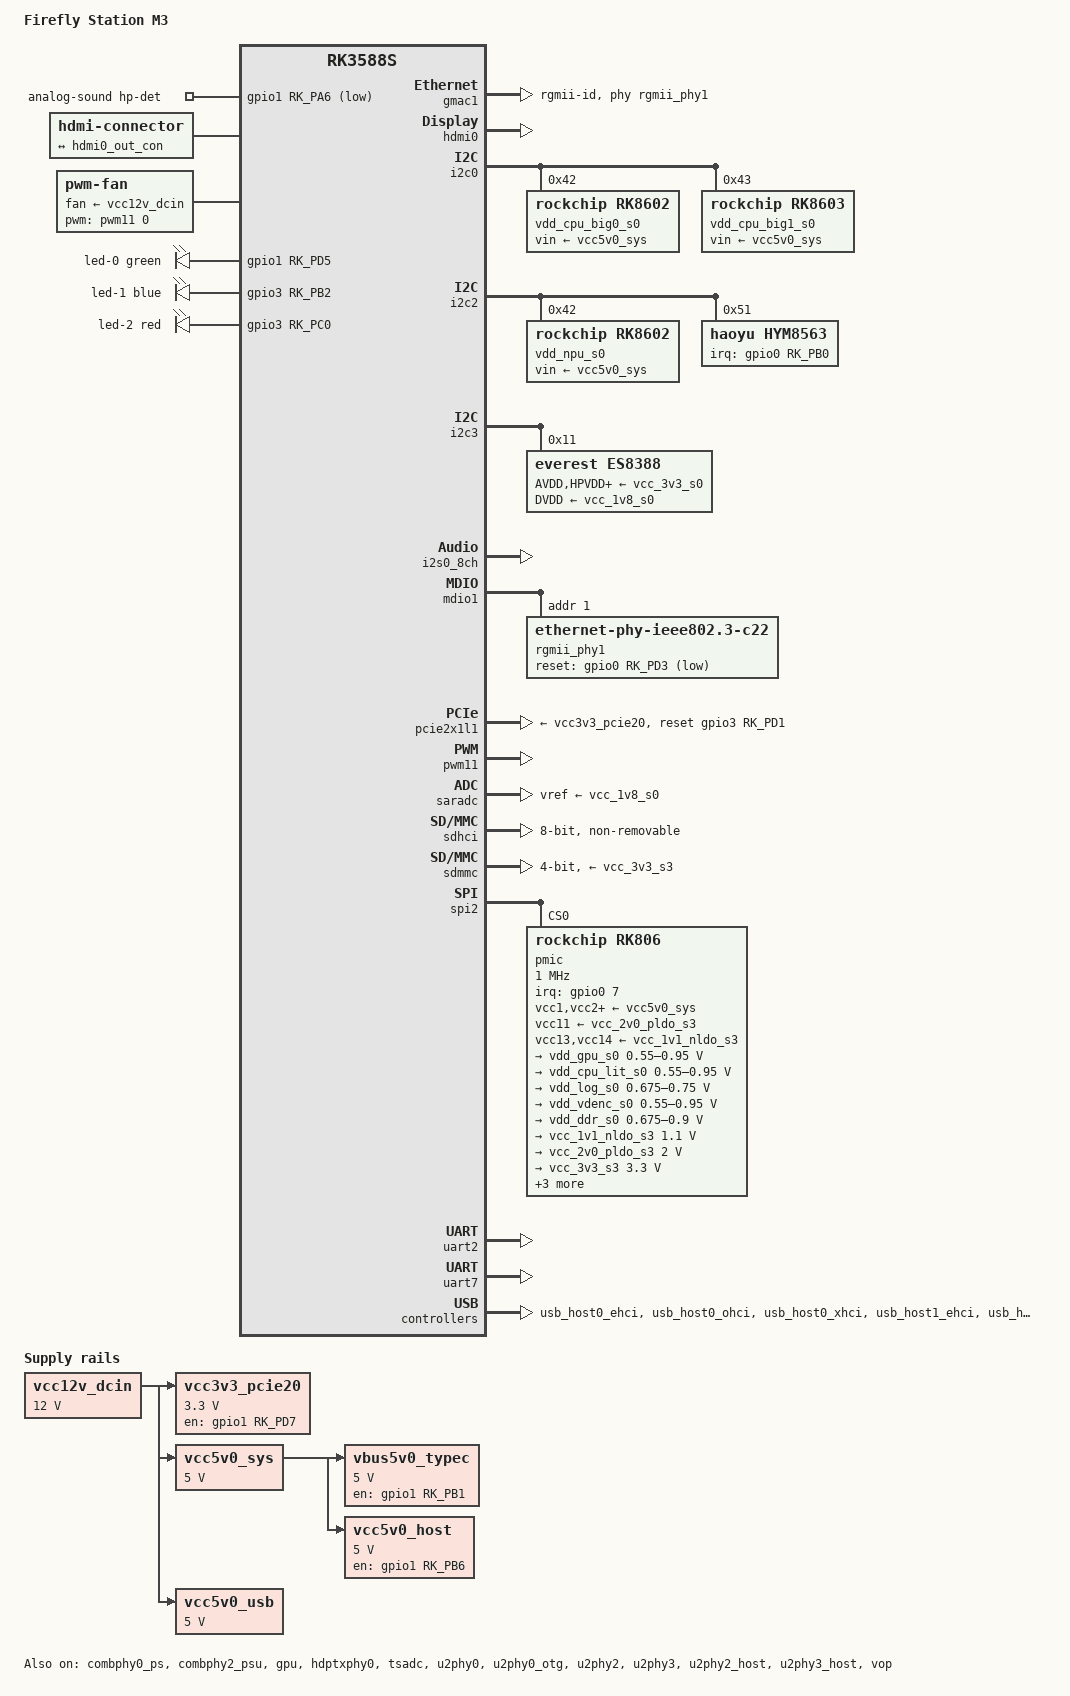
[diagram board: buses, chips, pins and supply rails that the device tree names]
// SPDX-License-Identifier: (GPL-2.0+ OR MIT)

/dts-v1/;

#include <dt-bindings/gpio/gpio.h>
#include <dt-bindings/leds/common.h>
#include <dt-bindings/pinctrl/rockchip.h>
#include <dt-bindings/soc/rockchip,vop2.h>
#include <dt-bindings/usb/pd.h>
#include "rk3588s.dtsi"

/ {
	model = "Firefly Station M3";
	compatible = "firefly,rk3588s-roc-pc", "rockchip,rk3588s";

	aliases {
		ethernet0 = &gmac1;
		mmc0 = &sdhci;
		mmc1 = &sdmmc;
	};

	analog-sound {
		compatible = "simple-audio-card";
		pinctrl-names = "default";
		pinctrl-0 = <&hp_detect>;
		simple-audio-card,name = "rockchip,es8388";
		simple-audio-card,bitclock-master = <&masterdai>;
		simple-audio-card,format = "i2s";
		simple-audio-card,frame-master = <&masterdai>;
		simple-audio-card,hp-det-gpios = <&gpio1 RK_PA6 GPIO_ACTIVE_LOW>;
		simple-audio-card,mclk-fs = <256>;
		simple-audio-card,pin-switches = "Headphones";
		simple-audio-card,routing =
			"Headphones", "LOUT1",
			"Headphones", "ROUT1",
			"LINPUT1", "Microphone Jack",
			"RINPUT1", "Microphone Jack",
			"LINPUT2", "Onboard Microphone",
			"RINPUT2", "Onboard Microphone";
		simple-audio-card,widgets =
			"Microphone", "Microphone Jack",
			"Microphone", "Onboard Microphone",
			"Headphone", "Headphones";

		masterdai: simple-audio-card,codec {
			sound-dai = <&es8388>;
			system-clock-frequency = <12288000>;
		};

		simple-audio-card,cpu {
			sound-dai = <&i2s0_8ch>;
		};
	};

	chosen {
		stdout-path = "serial2:1500000n8";
	};

	hdmi-con {
		compatible = "hdmi-connector";
		type = "a";

		port {
			hdmi_con_in: endpoint {
				remote-endpoint = <&hdmi0_out_con>;
			};
		};
	};

	fan: fan {
		compatible = "pwm-fan";
		cooling-levels = <60 100 140 160 185 220 255>;
		fan-supply = <&vcc12v_dcin>;
		pwms = <&pwm11 0 50000 1>;
		#cooling-cells = <2>;
	};

	leds {
		compatible = "gpio-leds";
		pinctrl-names = "default";
		pinctrl-0 = <&led_pins>;

		led-0 {
			color = <LED_COLOR_ID_GREEN>;
			default-state = "on";
			function = LED_FUNCTION_POWER;
			gpios = <&gpio1 RK_PD5 GPIO_ACTIVE_HIGH>;
		};

		led-1 {
			color = <LED_COLOR_ID_BLUE>;
			default-state = "off";
			gpios = <&gpio3 RK_PB2 GPIO_ACTIVE_HIGH>;
		};

		led-2 {
			color = <LED_COLOR_ID_RED>;
			default-state = "off";
			gpios = <&gpio3 RK_PC0 GPIO_ACTIVE_HIGH>;
		};
	};

	vcc12v_dcin: regulator-vcc12v-dcin {
		compatible = "regulator-fixed";
		regulator-name = "vcc12v_dcin";
		regulator-always-on;
		regulator-boot-on;
		regulator-min-microvolt = <12000000>;
		regulator-max-microvolt = <12000000>;
	};

	vbus5v0_typec: regulator-vbus5v0-typec {
		compatible = "regulator-fixed";
		enable-active-high;
		gpio = <&gpio1 RK_PB1 GPIO_ACTIVE_HIGH>;
		pinctrl-names = "default";
		pinctrl-0 = <&typec5v_pwren>;
		regulator-name = "vbus5v0_typec";
		regulator-min-microvolt = <5000000>;
		regulator-max-microvolt = <5000000>;
		vin-supply = <&vcc5v0_sys>;
	};

	vcc3v3_pcie20: regulator-vcc3v3-pcie20 {
		compatible = "regulator-fixed";
		gpio = <&gpio1 RK_PD7 GPIO_ACTIVE_HIGH>;
		regulator-name = "vcc3v3_pcie20";
		enable-active-high;
		regulator-min-microvolt = <3300000>;
		regulator-max-microvolt = <3300000>;
		startup-delay-us = <5000>;
		vin-supply = <&vcc12v_dcin>;
	};

	vcc5v0_host: regulator-vcc5v0-host {
		compatible = "regulator-fixed";
		enable-active-high;
		gpio = <&gpio1 RK_PB6 GPIO_ACTIVE_HIGH>;
		pinctrl-names = "default";
		pinctrl-0 = <&vcc5v0_host_en>;
		regulator-name = "vcc5v0_host";
		regulator-min-microvolt = <5000000>;
		regulator-max-microvolt = <5000000>;
		vin-supply = <&vcc5v0_sys>;
	};

	vcc5v0_sys: regulator-vcc5v0-sys {
		compatible = "regulator-fixed";
		regulator-name = "vcc5v0_sys";
		regulator-always-on;
		regulator-boot-on;
		regulator-min-microvolt = <5000000>;
		regulator-max-microvolt = <5000000>;
		vin-supply = <&vcc12v_dcin>;
	};

	vcc5v0_usb: regulator-vcc5v0-usb {
		compatible = "regulator-fixed";
		regulator-name = "vcc5v0_usb";
		regulator-always-on;
		regulator-boot-on;
		regulator-min-microvolt = <5000000>;
		regulator-max-microvolt = <5000000>;
		vin-supply = <&vcc12v_dcin>;
	};
};

&combphy0_ps {
	status = "okay";
};

&combphy2_psu {
	status = "okay";
};

&cpu_b0 {
	cpu-supply = <&vdd_cpu_big0_s0>;
};

&cpu_b1 {
	cpu-supply = <&vdd_cpu_big0_s0>;
};

&cpu_b2 {
	cpu-supply = <&vdd_cpu_big1_s0>;
};

&cpu_b3 {
	cpu-supply = <&vdd_cpu_big1_s0>;
};

&cpu_l0 {
	cpu-supply = <&vdd_cpu_lit_s0>;
};

&cpu_l1 {
	cpu-supply = <&vdd_cpu_lit_s0>;
};

&cpu_l2 {
	cpu-supply = <&vdd_cpu_lit_s0>;
};

&cpu_l3 {
	cpu-supply = <&vdd_cpu_lit_s0>;
};

&gmac1 {
	clock_in_out = "output";
	phy-handle = <&rgmii_phy1>;
	phy-mode = "rgmii-id";
	pinctrl-names = "default";
	pinctrl-0 = <&gmac1_miim
		     &gmac1_tx_bus2
		     &gmac1_rx_bus2
		     &gmac1_rgmii_clk
		     &gmac1_rgmii_bus>;
	status = "okay";
};

&gpu {
	mali-supply = <&vdd_gpu_s0>;
	status = "okay";
};

&hdmi0 {
	status = "okay";
};

&hdmi0_in {
	hdmi0_in_vp0: endpoint {
		remote-endpoint = <&vp0_out_hdmi0>;
	};
};

&hdmi0_out {
	hdmi0_out_con: endpoint {
		remote-endpoint = <&hdmi_con_in>;
	};
};

&hdptxphy0 {
	status = "okay";
};

&i2c0 {
	pinctrl-names = "default";
	pinctrl-0 = <&i2c0m2_xfer>;
	status = "okay";

	vdd_cpu_big0_s0: regulator@42 {
		compatible = "rockchip,rk8602";
		reg = <0x42>;
		fcs,suspend-voltage-selector = <1>;
		regulator-name = "vdd_cpu_big0_s0";
		regulator-always-on;
		regulator-boot-on;
		regulator-min-microvolt = <550000>;
		regulator-max-microvolt = <1050000>;
		regulator-ramp-delay = <2300>;
		vin-supply = <&vcc5v0_sys>;

		regulator-state-mem {
			regulator-off-in-suspend;
		};
	};

	vdd_cpu_big1_s0: regulator@43 {
		compatible = "rockchip,rk8603", "rockchip,rk8602";
		reg = <0x43>;
		fcs,suspend-voltage-selector = <1>;
		regulator-name = "vdd_cpu_big1_s0";
		regulator-always-on;
		regulator-boot-on;
		regulator-min-microvolt = <550000>;
		regulator-max-microvolt = <1050000>;
		regulator-ramp-delay = <2300>;
		vin-supply = <&vcc5v0_sys>;

		regulator-state-mem {
			regulator-off-in-suspend;
		};
	};
};

&i2c2 {
	pinctrl-names = "default";
	pinctrl-0 = <&i2c2m0_xfer>;
	status = "okay";

	vdd_npu_s0: regulator@42 {
		compatible = "rockchip,rk8602";
		reg = <0x42>;
		fcs,suspend-voltage-selector = <1>;
		regulator-name = "vdd_npu_s0";
		regulator-always-on;
		regulator-boot-on;
		regulator-min-microvolt = <550000>;
		regulator-max-microvolt = <950000>;
		regulator-ramp-delay = <2300>;
		vin-supply = <&vcc5v0_sys>;

		regulator-state-mem {
			regulator-off-in-suspend;
		};
	};

	hym8563: rtc@51 {
		compatible = "haoyu,hym8563";
		reg = <0x51>;
		#clock-cells = <0>;
		clock-output-names = "hym8563";
		interrupt-parent = <&gpio0>;
		interrupts = <RK_PB0 IRQ_TYPE_LEVEL_LOW>;
		pinctrl-names = "default";
		pinctrl-0 = <&hym8563_int>;
	};
};

&i2c3 {
	status = "okay";

	es8388: audio-codec@11 {
		compatible = "everest,es8388", "everest,es8328";
		reg = <0x11>;
		clocks = <&cru I2S1_8CH_MCLKOUT>;
		AVDD-supply = <&vcc_3v3_s0>;
		DVDD-supply = <&vcc_1v8_s0>;
		HPVDD-supply = <&vcc_3v3_s0>;
		PVDD-supply = <&vcc_3v3_s0>;
		assigned-clocks = <&cru I2S1_8CH_MCLKOUT>;
		assigned-clock-rates = <12288000>;
		#sound-dai-cells = <0>;
	};
};

&i2s0_8ch {
	pinctrl-names = "default";
	pinctrl-0 = <&i2s0_lrck
		     &i2s0_mclk
		     &i2s0_sclk
		     &i2s0_sdi0
		     &i2s0_sdo0>;
	status = "okay";
};

&mdio1 {
	rgmii_phy1: ethernet-phy@1 {
		compatible = "ethernet-phy-ieee802.3-c22";
		reg = <0x1>;
		pinctrl-names = "default";
		pinctrl-0 = <&rtl8211f_rst>;
		reset-assert-us = <20000>;
		reset-deassert-us = <100000>;
		reset-gpios = <&gpio0 RK_PD3 GPIO_ACTIVE_LOW>;
	};
};

&pcie2x1l1 {
	reset-gpios = <&gpio3 RK_PD1 GPIO_ACTIVE_HIGH>;
	vpcie3v3-supply = <&vcc3v3_pcie20>;
	status = "okay";
};

&pd_gpu {
	domain-supply = <&vdd_gpu_s0>;
};

&pinctrl {
	hym8563 {
		hym8563_int: hym8563-int {
			rockchip,pins = <0 RK_PB0 RK_FUNC_GPIO &pcfg_pull_up>;
		};
	};

	headphone {
		hp_detect: hp-detect {
			rockchip,pins = <1 RK_PA6 RK_FUNC_GPIO &pcfg_pull_none>;
		};
	};

	leds {
		led_pins: led-pins {
			rockchip,pins = <1 RK_PD5 RK_FUNC_GPIO &pcfg_pull_none>,
					<3 RK_PB2 RK_FUNC_GPIO &pcfg_pull_none>,
					<3 RK_PC0 RK_FUNC_GPIO &pcfg_pull_none>;
		};
	};

	rtl8211 {
		rtl8211f_rst: rtl8211f-rst {
			rockchip,pins = <0 RK_PD3 RK_FUNC_GPIO &pcfg_pull_up>;
		};
	};

	usb {
		typec5v_pwren: typec5v-pwren {
			rockchip,pins = <1 RK_PB1 RK_FUNC_GPIO &pcfg_pull_none>;
		};

		vcc5v0_host_en: vcc5v0-host-en {
			rockchip,pins = <1 RK_PB6 RK_FUNC_GPIO &pcfg_pull_none>;
		};
	};
};

&pwm11 {
	pinctrl-names = "default";
	pinctrl-0 = <&pwm11m3_pins>;
	status = "okay";
};

&saradc {
	vref-supply = <&vcc_1v8_s0>;
	status = "okay";
};

&sdhci {
	bus-width = <8>;
	mmc-hs400-1_8v;
	mmc-hs400-enhanced-strobe;
	no-sdio;
	no-sd;
	non-removable;
	status = "okay";
};

&sdmmc {
	bus-width = <4>;
	cap-sd-highspeed;
	disable-wp;
	max-frequency = <150000000>;
	no-sdio;
	no-mmc;
	sd-uhs-sdr104;
	vmmc-supply = <&vcc_3v3_s3>;
	vqmmc-supply = <&vccio_sd_s0>;
	status = "okay";
};

&spi2 {
	assigned-clocks = <&cru CLK_SPI2>;
	assigned-clock-rates = <200000000>;
	num-cs = <1>;
	pinctrl-names = "default";
	pinctrl-0 = <&spi2m2_cs0 &spi2m2_pins>;
	status = "okay";

	pmic@0 {
		compatible = "rockchip,rk806";
		reg = <0x0>;
		interrupt-parent = <&gpio0>;
		interrupts = <7 IRQ_TYPE_LEVEL_LOW>;
		pinctrl-names = "default";
		pinctrl-0 = <&pmic_pins>, <&rk806_dvs1_null>,
			    <&rk806_dvs2_null>, <&rk806_dvs3_null>;
		spi-max-frequency = <1000000>;
		system-power-controller;

		vcc1-supply = <&vcc5v0_sys>;
		vcc2-supply = <&vcc5v0_sys>;
		vcc3-supply = <&vcc5v0_sys>;
		vcc4-supply = <&vcc5v0_sys>;
		vcc5-supply = <&vcc5v0_sys>;
		vcc6-supply = <&vcc5v0_sys>;
		vcc7-supply = <&vcc5v0_sys>;
		vcc8-supply = <&vcc5v0_sys>;
		vcc9-supply = <&vcc5v0_sys>;
		vcc10-supply = <&vcc5v0_sys>;
		vcc11-supply = <&vcc_2v0_pldo_s3>;
		vcc12-supply = <&vcc5v0_sys>;
		vcc13-supply = <&vcc_1v1_nldo_s3>;
		vcc14-supply = <&vcc_1v1_nldo_s3>;
		vcca-supply = <&vcc5v0_sys>;

		gpio-controller;
		#gpio-cells = <2>;

		rk806_dvs1_null: dvs1-null-pins {
			pins = "gpio_pwrctrl1";
			function = "pin_fun0";
		};

		rk806_dvs2_null: dvs2-null-pins {
			pins = "gpio_pwrctrl2";
			function = "pin_fun0";
		};

		rk806_dvs3_null: dvs3-null-pins {
			pins = "gpio_pwrctrl3";
			function = "pin_fun0";
		};

		regulators {
			vdd_gpu_s0: dcdc-reg1 {
				regulator-name = "vdd_gpu_s0";
				regulator-boot-on;
				regulator-min-microvolt = <550000>;
				regulator-max-microvolt = <950000>;
				regulator-ramp-delay = <12500>;
				regulator-enable-ramp-delay = <400>;

				regulator-state-mem {
					regulator-off-in-suspend;
				};
			};

			vdd_cpu_lit_s0: dcdc-reg2 {
				regulator-name = "vdd_cpu_lit_s0";
				regulator-always-on;
				regulator-boot-on;
				regulator-min-microvolt = <550000>;
				regulator-max-microvolt = <950000>;
				regulator-ramp-delay = <12500>;

				regulator-state-mem {
					regulator-off-in-suspend;
				};
			};

			vdd_log_s0: dcdc-reg3 {
				regulator-name = "vdd_log_s0";
				regulator-always-on;
				regulator-boot-on;
				regulator-min-microvolt = <675000>;
				regulator-max-microvolt = <750000>;
				regulator-ramp-delay = <12500>;

				regulator-state-mem {
					regulator-off-in-suspend;
					regulator-suspend-microvolt = <750000>;
				};
			};

			vdd_vdenc_s0: dcdc-reg4 {
				regulator-name = "vdd_vdenc_s0";
				regulator-always-on;
				regulator-boot-on;
				regulator-min-microvolt = <550000>;
				regulator-max-microvolt = <950000>;
				regulator-ramp-delay = <12500>;

				regulator-state-mem {
					regulator-off-in-suspend;
				};
			};

			vdd_ddr_s0: dcdc-reg5 {
				regulator-name = "vdd_ddr_s0";
				regulator-always-on;
				regulator-boot-on;
				regulator-min-microvolt = <675000>;
				regulator-max-microvolt = <900000>;
				regulator-ramp-delay = <12500>;

				regulator-state-mem {
					regulator-off-in-suspend;
					regulator-suspend-microvolt = <850000>;
				};
			};

			vcc_1v1_nldo_s3: vdd2_ddr_s3: dcdc-reg6 {
				regulator-name = "vdd2_ddr_s3";
				regulator-always-on;
				regulator-boot-on;
				regulator-max-microvolt = <1100000>;
				regulator-min-microvolt = <1100000>;

				regulator-state-mem {
					regulator-on-in-suspend;
				};
			};

			vcc_2v0_pldo_s3: dcdc-reg7 {
				regulator-name = "vdd_2v0_pldo_s3";
				regulator-always-on;
				regulator-boot-on;
				regulator-min-microvolt = <2000000>;
				regulator-max-microvolt = <2000000>;
				regulator-ramp-delay = <12500>;

				regulator-state-mem {
					regulator-on-in-suspend;
					regulator-suspend-microvolt = <2000000>;
				};
			};

			vcc_3v3_s3: dcdc-reg8 {
				regulator-name = "vcc_3v3_s3";
				regulator-always-on;
				regulator-boot-on;
				regulator-min-microvolt = <3300000>;
				regulator-max-microvolt = <3300000>;

				regulator-state-mem {
					regulator-on-in-suspend;
					regulator-suspend-microvolt = <3300000>;
				};
			};

			vddq_ddr_s0: dcdc-reg9 {
				regulator-name = "vddq_ddr_s0";
				regulator-always-on;
				regulator-boot-on;

				regulator-state-mem {
					regulator-off-in-suspend;
				};
			};

			vcc_1v8_s3: dcdc-reg10 {
				regulator-name = "vcc_1v8_s3";
				regulator-always-on;
				regulator-boot-on;
				regulator-min-microvolt = <1800000>;
				regulator-max-microvolt = <1800000>;

				regulator-state-mem {
					regulator-on-in-suspend;
					regulator-suspend-microvolt = <1800000>;
				};
			};

			avcc_1v8_s0: pldo-reg1 {
				regulator-name = "avcc_1v8_s0";
				regulator-always-on;
				regulator-boot-on;
				regulator-min-microvolt = <1800000>;
				regulator-max-microvolt = <1800000>;

				regulator-state-mem {
					regulator-off-in-suspend;
				};
			};

			vcc_1v8_s0: pldo-reg2 {
				regulator-name = "vcc_1v8_s0";
				regulator-always-on;
				regulator-boot-on;
				regulator-min-microvolt = <1800000>;
				regulator-max-microvolt = <1800000>;

				regulator-state-mem {
					regulator-off-in-suspend;
					regulator-suspend-microvolt = <1800000>;
				};
			};

			avdd_1v2_s0: pldo-reg3 {
				regulator-name = "avdd_1v2_s0";
				regulator-always-on;
				regulator-boot-on;
				regulator-min-microvolt = <1200000>;
				regulator-max-microvolt = <1200000>;

				regulator-state-mem {
					regulator-off-in-suspend;
				};
			};

			vcc_3v3_s0: pldo-reg4 {
				regulator-name = "vcc_3v3_s0";
				regulator-always-on;
				regulator-boot-on;
				regulator-min-microvolt = <3300000>;
				regulator-max-microvolt = <3300000>;
				regulator-ramp-delay = <12500>;

				regulator-state-mem {
					regulator-off-in-suspend;
				};
			};

			vccio_sd_s0: pldo-reg5 {
				regulator-name = "vccio_sd_s0";
				regulator-always-on;
				regulator-boot-on;
				regulator-min-microvolt = <1800000>;
				regulator-max-microvolt = <3300000>;
				regulator-ramp-delay = <12500>;

				regulator-state-mem {
					regulator-off-in-suspend;
				};
			};

			pldo6_s3: pldo-reg6 {
				regulator-name = "pldo6_s3";
				regulator-always-on;
				regulator-boot-on;
				regulator-min-microvolt = <1800000>;
				regulator-max-microvolt = <1800000>;

				regulator-state-mem {
					regulator-on-in-suspend;
					regulator-suspend-microvolt = <1800000>;
				};
			};

			vdd_0v75_s3: nldo-reg1 {
				regulator-name = "vdd_0v75_s3";
				regulator-always-on;
				regulator-boot-on;
				regulator-min-microvolt = <750000>;
				regulator-max-microvolt = <750000>;

				regulator-state-mem {
					regulator-on-in-suspend;
					regulator-suspend-microvolt = <750000>;
				};
			};

			vdd_ddr_pll_s0: nldo-reg2 {
				regulator-name = "vdd_ddr_pll_s0";
				regulator-always-on;
				regulator-boot-on;
				regulator-min-microvolt = <850000>;
				regulator-max-microvolt = <850000>;

				regulator-state-mem {
					regulator-off-in-suspend;
					regulator-suspend-microvolt = <850000>;
				};
			};

			avdd_0v75_s0: nldo-reg3 {
				regulator-name = "avdd_0v75_s0";
				regulator-always-on;
				regulator-boot-on;
				regulator-min-microvolt = <750000>;
				regulator-max-microvolt = <750000>;

				regulator-state-mem {
					regulator-off-in-suspend;
				};
			};

			vdd_0v85_s0: nldo-reg4 {
				regulator-name = "vdd_0v85_s0";
				regulator-always-on;
				regulator-boot-on;
				regulator-min-microvolt = <850000>;
				regulator-max-microvolt = <850000>;

				regulator-state-mem {
					regulator-off-in-suspend;
				};
			};

			vdd_0v75_s0: nldo-reg5 {
				regulator-name = "vdd_0v75_s0";
				regulator-always-on;
				regulator-boot-on;
				regulator-min-microvolt = <750000>;
				regulator-max-microvolt = <750000>;

				regulator-state-mem {
					regulator-off-in-suspend;
				};
			};
		};
	};
};

&tsadc {
	status = "okay";
};

&u2phy0 {
	status = "okay";
};

&u2phy0_otg {
	status = "okay";
};

&u2phy2 {
	status = "okay";
};

&u2phy3 {
	status = "okay";
};

&u2phy2_host {
	phy-supply = <&vcc5v0_host>;
	status = "okay";
};

&u2phy3_host {
	phy-supply = <&vcc5v0_host>;
	status = "okay";
};

&uart2 {
	pinctrl-names = "default";
	pinctrl-0 = <&uart2m0_xfer>;
	status = "okay";
};

&uart7 {
	pinctrl-0 = <&uart7m2_xfer>;
	status = "okay";
};

&usb_host0_ehci {
	status = "okay";
};

&usb_host0_ohci {
	status = "okay";
};

&usb_host0_xhci {
	extcon = <&u2phy0>;
	status = "okay";
};

&usb_host1_ehci {
	status = "okay";
};

&usb_host1_ohci {
	status = "okay";
};

&vop {
	status = "okay";
};

&vop_mmu {
	status = "okay";
};

&vp0 {
	vp0_out_hdmi0: endpoint@ROCKCHIP_VOP2_EP_HDMI0 {
		reg = <ROCKCHIP_VOP2_EP_HDMI0>;
		remote-endpoint = <&hdmi0_in_vp0>;
	};
};
